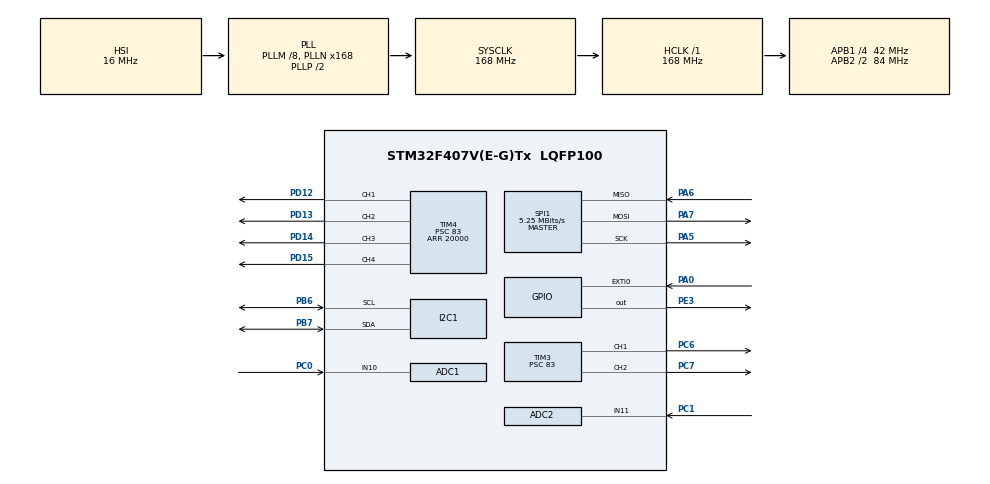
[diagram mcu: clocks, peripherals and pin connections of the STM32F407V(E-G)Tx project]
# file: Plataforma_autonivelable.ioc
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ADC1.Channel-0\#ChannelRegularConversion=ADC_CHANNEL_10
ADC1.ClockPrescaler=ADC_CLOCK_SYNC_PCLK_DIV4
ADC1.NbrOfConversionFlag=1
ADC1.Rank-0\#ChannelRegularConversion=1
ADC1.SamplingTime-0\#ChannelRegularConversion=ADC_SAMPLETIME_3CYCLES
ADC1.master=1
ADC2.Channel-0\#ChannelRegularConversion=ADC_CHANNEL_11
ADC2.ClockPrescaler=ADC_CLOCK_SYNC_PCLK_DIV4
ADC2.NbrOfConversionFlag=1
ADC2.Rank-0\#ChannelRegularConversion=1
ADC2.SamplingTime-0\#ChannelRegularConversion=ADC_SAMPLETIME_3CYCLES
I2C1.I2C_Mode=I2C_Fast
Mcu.Family=STM32F4
Mcu.Name=STM32F407V(E-G)Tx
Mcu.Package=LQFP100
NVIC.EXTI0_IRQn=true\:0\:0\:false\:false\:true\:true\:true
NVIC.PriorityGroup=NVIC_PRIORITYGROUP_4
PA0-WKUP.Signal=GPXTI0
PA5.Mode=Full_Duplex_Master
PA5.Signal=SPI1_SCK
PA6.Mode=Full_Duplex_Master
PA6.Signal=SPI1_MISO
PA7.Mode=Full_Duplex_Master
PA7.Signal=SPI1_MOSI
PB6.Mode=I2C
PB6.Signal=I2C1_SCL
PB7.Mode=I2C
PB7.Signal=I2C1_SDA
PC0.Signal=ADCx_IN10
PC1.Signal=ADCx_IN11
PC6.Signal=S_TIM3_CH1
PC7.Signal=S_TIM3_CH2
PD12.Signal=S_TIM4_CH1
PD13.Signal=S_TIM4_CH2
PD14.Signal=S_TIM4_CH3
PD15.Signal=S_TIM4_CH4
PE3.Signal=GPIO_Output
ProjectManager.HeapSize=0x200
ProjectManager.StackSize=0x400
ProjectManager.TargetToolchain=STM32CubeIDE
RCC.48MHZClocksFreq_Value=84000000
RCC.AHBFreq_Value=168000000
RCC.APB1CLKDivider=RCC_HCLK_DIV4
RCC.APB1Freq_Value=42000000
RCC.APB1TimFreq_Value=84000000
RCC.APB2CLKDivider=RCC_HCLK_DIV2
RCC.APB2Freq_Value=84000000
RCC.APB2TimFreq_Value=168000000
RCC.CortexFreq_Value=168000000
RCC.HCLKFreq_Value=168000000
RCC.HSE_VALUE=8000000
RCC.HSI_VALUE=16000000
RCC.LSE_VALUE=32768
RCC.PLLM=8
RCC.PLLN=168
RCC.SYSCLKFreq_VALUE=168000000
RCC.SYSCLKSource=RCC_SYSCLKSOURCE_PLLCLK
RCC.VCOOutputFreq_Value=336000000
SH.ADCx_IN10.0=ADC1_IN10,IN10
SH.ADCx_IN11.0=ADC2_IN11,IN11
SH.S_TIM3_CH1.0=TIM3_CH1,PWM Generation1 CH1
SH.S_TIM3_CH2.0=TIM3_CH2,PWM Generation2 CH2
SH.S_TIM4_CH1.0=TIM4_CH1,PWM Generation1 CH1
SH.S_TIM4_CH2.0=TIM4_CH2,PWM Generation2 CH2
SH.S_TIM4_CH3.0=TIM4_CH3,PWM Generation3 CH3
SH.S_TIM4_CH4.0=TIM4_CH4,PWM Generation4 CH4
SPI1.BaudRatePrescaler=SPI_BAUDRATEPRESCALER_16
SPI1.CalculateBaudRate=5.25 MBits/s
SPI1.Direction=SPI_DIRECTION_2LINES
SPI1.Mode=SPI_MODE_MASTER
SPI1.VirtualType=VM_MASTER
TIM3.Channel-PWM\ Generation1\ CH1=TIM_CHANNEL_1
TIM3.Channel-PWM\ Generation2\ CH2=TIM_CHANNEL_2
TIM3.Period=20000
TIM3.Prescaler=83
TIM4.Channel-PWM\ Generation1\ CH1=TIM_CHANNEL_1
TIM4.Channel-PWM\ Generation2\ CH2=TIM_CHANNEL_2
TIM4.Channel-PWM\ Generation3\ CH3=TIM_CHANNEL_3
TIM4.Channel-PWM\ Generation4\ CH4=TIM_CHANNEL_4
TIM4.Period=20000
TIM4.Prescaler=83
VP_TIM3_VS_ClockSourceINT.Mode=Internal
VP_TIM4_VS_ClockSourceINT.Mode=Internal
board=custom

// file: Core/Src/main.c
/* USER CODE BEGIN Header */
/**
  ******************************************************************************
  * @file           : main.c
  * @brief          : Main program body
  ******************************************************************************
  * @attention
  *
  * <h2><center>&copy; Copyright (c) 2022 STMicroelectronics.
  * All rights reserved.</center></h2>
  *
  * This software component is licensed by ST under BSD 3-Clause license,
  * the "License"; You may not use this file except in compliance with the
  * License. You may obtain a copy of the License at:
  *                        opensource.org/licenses/BSD-3-Clause
  *
  ******************************************************************************
  */
/* USER CODE END Header */
#include "main.h"

/* USER CODE BEGIN Includes */
#include "math.h"
#include <stdio.h>
#include "fonts.h"
#include "ssd1306.h"
/* USER CODE END Includes */

ADC_HandleTypeDef hadc1;
ADC_HandleTypeDef hadc2;

I2C_HandleTypeDef hi2c1;

SPI_HandleTypeDef hspi1;

TIM_HandleTypeDef htim3;
TIM_HandleTypeDef htim4;

/* USER CODE BEGIN PV */
	//Variables para comunicación SPI con el acelerómetro
uint8_t spiTxBuf[2];
uint8_t spiRxBuf[7];
volatile int16_t accel_x, grad_accel_x, prev_x = 1500;
volatile int16_t accel_y, grad_accel_y, prev_y = 1500;
volatile int16_t accel_z;

char buf_x[12];
char buf_y[12];
char buf2_x[16];
char buf2_y[16];

int16_t adcval_x;
int16_t adcval_y;
volatile int mode = 1;
int16_t T_lights = 20000;
int16_t angle_x;
int16_t angle_y;
int16_t lights_x;
int16_t lights_y, lights_y_2;
uint32_t start_x, start_y;

void HAL_GPIO_EXTI_Callback(uint16_t GPIO_Pin){
	if (GPIO_Pin==GPIO_PIN_0){
			mode = !mode;
		}
}

/* USER CODE END PV */

void SystemClock_Config(void);
static void MX_GPIO_Init(void);
static void MX_SPI1_Init(void);
static void MX_ADC1_Init(void);
static void MX_ADC2_Init(void);
static void MX_TIM3_Init(void);
static void MX_TIM4_Init(void);
static void MX_I2C1_Init(void);

/* USER CODE BEGIN 0 */
int16_t map_acc(int16_t accel){
	if (accel > 16384) return  T_lights;
	else if (accel < -16384) return -T_lights;
	else if(accel < 100 && accel > -100) return 0;
	return (accel - (-16384)) * (T_lights - (-T_lights)) / (16384 - (-16384)) - T_lights;
}

int16_t map_adc(int16_t adc){
	if (adc > 4095) return T_lights/2;
	else if (adc < 0) return -T_lights/2;
	else if(adc < 2148 && adc > 1947) return 0;
	return ((adc - 0) * (T_lights - (-T_lights)) / (4096 - 0) - T_lights)/2;
}

int16_t map_angle(int16_t light){
	return (light - (-T_lights)) * (2500 - 500) / (T_lights - (-T_lights)) + 500;
}
/* USER CODE END 0 */

int main(void)
{

  /* MCU Configuration--------------------------------------------------------*/

  /* Reset of all peripherals, Initializes the Flash interface and the Systick. */
  HAL_Init();

  /* Configure the system clock */
  SystemClock_Config();

  /* Initialize all configured peripherals */
  MX_GPIO_Init();
  MX_SPI1_Init();
  MX_ADC1_Init();
  MX_ADC2_Init();
  MX_TIM3_Init();
  MX_TIM4_Init();
  MX_I2C1_Init();
  /* USER CODE BEGIN 2 */

  SSD1306_Init (); //Inicializo el dispaly OLED

  HAL_TIM_PWM_Start(&htim3, TIM_CHANNEL_1);
  HAL_TIM_PWM_Start(&htim3, TIM_CHANNEL_2);
  HAL_TIM_PWM_Start(&htim4, TIM_CHANNEL_1);
  HAL_TIM_PWM_Start(&htim4, TIM_CHANNEL_2);
  HAL_TIM_PWM_Start(&htim4, TIM_CHANNEL_3);
  HAL_TIM_PWM_Start(&htim4, TIM_CHANNEL_4);
  HAL_GPIO_WritePin(GPIOE,GPIO_PIN_3,GPIO_PIN_SET); //Aseguro que no haya comunicación SPI

  //Inicialización de los registros del acelerómetro
  HAL_GPIO_WritePin(GPIOE,GPIO_PIN_3,GPIO_PIN_RESET); //Comienzo la transmisión de datos por SPI
  spiTxBuf[0]=0x20; //Accedo al registro 0x20 (Control Regist 4)
  spiTxBuf[1]=0x67; //Activo los elementos 0x67 (en decimal = 103; binario = 0110_0111) Para q los outputs vayan a 100Hz de tasa de refresco
  HAL_SPI_Transmit(&hspi1,spiTxBuf,2,50);
  HAL_GPIO_WritePin(GPIOE,GPIO_PIN_3,GPIO_PIN_SET); //Fin de la transmisión de datos por SPI

  start_x = HAL_GetTick();
  start_y = HAL_GetTick();
  /* USER CODE END 2 */

  /* Infinite loop */
  while (1)
  {

    /* USER CODE BEGIN 3 */
	  HAL_GPIO_WritePin(GPIOE,GPIO_PIN_3,GPIO_PIN_RESET);
	  spiTxBuf[0]=0x28|0x80; //OUT_X_L
	  HAL_SPI_Transmit(&hspi1,spiTxBuf,1,20);
	  HAL_SPI_Receive(&hspi1,&spiRxBuf[1],1,20);
	  HAL_GPIO_WritePin(GPIOE,GPIO_PIN_3,GPIO_PIN_SET);

	  HAL_GPIO_WritePin(GPIOE,GPIO_PIN_3,GPIO_PIN_RESET);
	  spiTxBuf[0]=0x29|0x80; //OUT_X_H
	  HAL_SPI_Transmit(&hspi1,spiTxBuf,1,20);
	  HAL_SPI_Receive(&hspi1,&spiRxBuf[2],1,20);
	  HAL_GPIO_WritePin(GPIOE,GPIO_PIN_3,GPIO_PIN_SET);

	  HAL_GPIO_WritePin(GPIOE,GPIO_PIN_3,GPIO_PIN_RESET);
	  spiTxBuf[0]=0x2a|0x80; //OUT_Y_L
	  HAL_SPI_Transmit(&hspi1,spiTxBuf,1,20);
	  HAL_SPI_Receive(&hspi1,&spiRxBuf[3],1,20);
	  HAL_GPIO_WritePin(GPIOE,GPIO_PIN_3,GPIO_PIN_SET);

	  HAL_GPIO_WritePin(GPIOE,GPIO_PIN_3,GPIO_PIN_RESET);
	  spiTxBuf[0]=0x2b|0x80; //OUT_Y_H
	  HAL_SPI_Transmit(&hspi1,spiTxBuf,1,20);
	  HAL_SPI_Receive(&hspi1,&spiRxBuf[4],1,20);
	  HAL_GPIO_WritePin(GPIOE,GPIO_PIN_3,GPIO_PIN_SET);

	  HAL_GPIO_WritePin(GPIOE,GPIO_PIN_3,GPIO_PIN_RESET);
	  spiTxBuf[0]=0x2c|0x80; //OUT_Z_L
	  HAL_SPI_Transmit(&hspi1,spiTxBuf,1,20);
	  HAL_SPI_Receive(&hspi1,&spiRxBuf[5],1,20);
	  HAL_GPIO_WritePin(GPIOE,GPIO_PIN_3,GPIO_PIN_SET);

	  HAL_GPIO_WritePin(GPIOE,GPIO_PIN_3,GPIO_PIN_RESET);
	  spiTxBuf[0]=0x2d|0x80; //OUT_Z_H
	  HAL_SPI_Transmit(&hspi1,spiTxBuf,1,20);
	  HAL_SPI_Receive(&hspi1,&spiRxBuf[6],1,20);
	  HAL_GPIO_WritePin(GPIOE,GPIO_PIN_3,GPIO_PIN_SET);

	  // Carga de los datos del buffer a las variables
	  accel_x = (spiRxBuf[2]<<8)|spiRxBuf[1];
	  accel_y = (spiRxBuf[4]<<8)|spiRxBuf[3];
	  accel_z = (spiRxBuf[6]<<8)|spiRxBuf[5];

	  grad_accel_x = atan(-accel_x/sqrt(pow(accel_y,2) + pow(accel_z,2)))*(180.0/3.1416);
	  grad_accel_y = atan(accel_y/sqrt(pow(accel_x,2) + pow(accel_z,2)))*(180.0/3.1416);

	  if(mode){
		  lights_x = map_acc(accel_x);
		  lights_y = map_acc(accel_y) ;
	  }

	  else{
		  HAL_ADC_Start(&hadc1);
		  if(HAL_ADC_PollForConversion(&hadc1, 100)==HAL_OK)
			  adcval_x = HAL_ADC_GetValue(&hadc1); // -450
		  HAL_ADC_Stop(&hadc1);

		  HAL_ADC_Start(&hadc2);
		  if(HAL_ADC_PollForConversion(&hadc2, 100)==HAL_OK)
			  adcval_y = HAL_ADC_GetValue(&hadc2);
		  HAL_ADC_Stop(&hadc2);

		  lights_x = map_adc(adcval_x);
		  lights_y = map_adc(adcval_y);
	  }

	  angle_x = map_angle(lights_x);
	  angle_y = map_angle(-lights_y);

	  if(HAL_GetTick() - start_x > 2){
		  if(prev_x < angle_x)
		  	  prev_x += 10;
		  else
			  prev_x -= 10;
		  start_x = HAL_GetTick();}

	  if(HAL_GetTick() - start_y > 2){
		  if(prev_y < angle_y)
			  prev_y += 10;
		  else
			  prev_y -= 10;
		  start_y = HAL_GetTick();}

	  __HAL_TIM_SET_COMPARE(&htim3, TIM_CHANNEL_1, prev_x);
	  __HAL_TIM_SET_COMPARE(&htim3, TIM_CHANNEL_2, prev_y);

	  //Encendido de las leds por PWM
	  if(lights_x >= 0){
	  	__HAL_TIM_SET_COMPARE(&htim4, TIM_CHANNEL_1, 0);
	  	__HAL_TIM_SET_COMPARE(&htim4, TIM_CHANNEL_3, lights_x);
	  }
	  else{
	  	__HAL_TIM_SET_COMPARE(&htim4, TIM_CHANNEL_1, -lights_x);
	  	__HAL_TIM_SET_COMPARE(&htim4, TIM_CHANNEL_3, 0);
	  }

	  if(lights_y >= 0){
	  	__HAL_TIM_SET_COMPARE(&htim4, TIM_CHANNEL_2, lights_y);
	  	__HAL_TIM_SET_COMPARE(&htim4, TIM_CHANNEL_4, 0);
	  }
	  else{
	  	__HAL_TIM_SET_COMPARE(&htim4, TIM_CHANNEL_2, 0);
	  	__HAL_TIM_SET_COMPARE(&htim4, TIM_CHANNEL_4, -lights_y);
	  }
	  //Muestra por pantalla OLED

	  sprintf(buf_x, "%d", grad_accel_x);
	  sprintf(buf2_x, "%-10s", buf_x); //Relleno de espacios el resto del string
	  sprintf(buf_y, "%d", grad_accel_y);
	  sprintf(buf2_y, "%-10s", buf_y); //Relleno de espacios el resto del string

	  SSD1306_GotoXY (5, 10); // goto 10, 10
	  SSD1306_Puts ("X: ", &Font_7x10, 1);
	  SSD1306_GotoXY (30, 10);
	  SSD1306_Puts (buf2_x, &Font_7x10, 1);

	  SSD1306_GotoXY (5, 30);
	  SSD1306_Puts ("Y: ", &Font_7x10, 1);
	  SSD1306_GotoXY (30, 30);
	  SSD1306_Puts (buf2_y, &Font_7x10, 1);

	  SSD1306_UpdateScreen(); // update screen
  }
  /* USER CODE END 3 */
}

void SystemClock_Config(void)
{
  RCC_OscInitTypeDef RCC_OscInitStruct = {0};
  RCC_ClkInitTypeDef RCC_ClkInitStruct = {0};

  /** Configure the main internal regulator output voltage
  */
  __HAL_RCC_PWR_CLK_ENABLE();
  __HAL_PWR_VOLTAGESCALING_CONFIG(PWR_REGULATOR_VOLTAGE_SCALE1);
  /** Initializes the RCC Oscillators according to the specified parameters
  * in the RCC_OscInitTypeDef structure.
  */
  RCC_OscInitStruct.OscillatorType = RCC_OSCILLATORTYPE_HSI;
  RCC_OscInitStruct.HSIState = RCC_HSI_ON;
  RCC_OscInitStruct.HSICalibrationValue = RCC_HSICALIBRATION_DEFAULT;
  RCC_OscInitStruct.PLL.PLLState = RCC_PLL_ON;
  RCC_OscInitStruct.PLL.PLLSource = RCC_PLLSOURCE_HSI;
  RCC_OscInitStruct.PLL.PLLM = 8;
  RCC_OscInitStruct.PLL.PLLN = 168;
  RCC_OscInitStruct.PLL.PLLP = RCC_PLLP_DIV2;
  RCC_OscInitStruct.PLL.PLLQ = 4;
  if (HAL_RCC_OscConfig(&RCC_OscInitStruct) != HAL_OK)
  {
    Error_Handler();
  }
  /** Initializes the CPU, AHB and APB buses clocks
  */
  RCC_ClkInitStruct.ClockType = RCC_CLOCKTYPE_HCLK|RCC_CLOCKTYPE_SYSCLK
                              |RCC_CLOCKTYPE_PCLK1|RCC_CLOCKTYPE_PCLK2;
  RCC_ClkInitStruct.SYSCLKSource = RCC_SYSCLKSOURCE_PLLCLK;
  RCC_ClkInitStruct.AHBCLKDivider = RCC_SYSCLK_DIV1;
  RCC_ClkInitStruct.APB1CLKDivider = RCC_HCLK_DIV4;
  RCC_ClkInitStruct.APB2CLKDivider = RCC_HCLK_DIV2;

  if (HAL_RCC_ClockConfig(&RCC_ClkInitStruct, FLASH_LATENCY_5) != HAL_OK)
  {
    Error_Handler();
  }
}

static void MX_ADC1_Init(void)
{

  ADC_ChannelConfTypeDef sConfig = {0};

  /** Configure the global features of the ADC (Clock, Resolution, Data Alignment and number of conversion)
  */
  hadc1.Instance = ADC1;
  hadc1.Init.ClockPrescaler = ADC_CLOCK_SYNC_PCLK_DIV4;
  hadc1.Init.Resolution = ADC_RESOLUTION_12B;
  hadc1.Init.ScanConvMode = DISABLE;
  hadc1.Init.ContinuousConvMode = DISABLE;
  hadc1.Init.DiscontinuousConvMode = DISABLE;
  hadc1.Init.ExternalTrigConvEdge = ADC_EXTERNALTRIGCONVEDGE_NONE;
  hadc1.Init.ExternalTrigConv = ADC_SOFTWARE_START;
  hadc1.Init.DataAlign = ADC_DATAALIGN_RIGHT;
  hadc1.Init.NbrOfConversion = 1;
  hadc1.Init.DMAContinuousRequests = DISABLE;
  hadc1.Init.EOCSelection = ADC_EOC_SINGLE_CONV;
  if (HAL_ADC_Init(&hadc1) != HAL_OK)
  {
    Error_Handler();
  }
  /** Configure for the selected ADC regular channel its corresponding rank in the sequencer and its sample time.
  */
  sConfig.Channel = ADC_CHANNEL_10;
  sConfig.Rank = 1;
  sConfig.SamplingTime = ADC_SAMPLETIME_3CYCLES;
  if (HAL_ADC_ConfigChannel(&hadc1, &sConfig) != HAL_OK)
  {
    Error_Handler();
  }

}

static void MX_ADC2_Init(void)
{

  ADC_ChannelConfTypeDef sConfig = {0};

  /** Configure the global features of the ADC (Clock, Resolution, Data Alignment and number of conversion)
  */
  hadc2.Instance = ADC2;
  hadc2.Init.ClockPrescaler = ADC_CLOCK_SYNC_PCLK_DIV4;
  hadc2.Init.Resolution = ADC_RESOLUTION_12B;
  hadc2.Init.ScanConvMode = DISABLE;
  hadc2.Init.ContinuousConvMode = DISABLE;
  hadc2.Init.DiscontinuousConvMode = DISABLE;
  hadc2.Init.ExternalTrigConvEdge = ADC_EXTERNALTRIGCONVEDGE_NONE;
  hadc2.Init.ExternalTrigConv = ADC_SOFTWARE_START;
  hadc2.Init.DataAlign = ADC_DATAALIGN_RIGHT;
  hadc2.Init.NbrOfConversion = 1;
  hadc2.Init.DMAContinuousRequests = DISABLE;
  hadc2.Init.EOCSelection = ADC_EOC_SINGLE_CONV;
  if (HAL_ADC_Init(&hadc2) != HAL_OK)
  {
    Error_Handler();
  }
  /** Configure for the selected ADC regular channel its corresponding rank in the sequencer and its sample time.
  */
  sConfig.Channel = ADC_CHANNEL_11;
  sConfig.Rank = 1;
  sConfig.SamplingTime = ADC_SAMPLETIME_3CYCLES;
  if (HAL_ADC_ConfigChannel(&hadc2, &sConfig) != HAL_OK)
  {
    Error_Handler();
  }

}

static void MX_I2C1_Init(void)
{

  hi2c1.Instance = I2C1;
  hi2c1.Init.ClockSpeed = 400000;
  hi2c1.Init.DutyCycle = I2C_DUTYCYCLE_2;
  hi2c1.Init.OwnAddress1 = 0;
  hi2c1.Init.AddressingMode = I2C_ADDRESSINGMODE_7BIT;
  hi2c1.Init.DualAddressMode = I2C_DUALADDRESS_DISABLE;
  hi2c1.Init.OwnAddress2 = 0;
  hi2c1.Init.GeneralCallMode = I2C_GENERALCALL_DISABLE;
  hi2c1.Init.NoStretchMode = I2C_NOSTRETCH_DISABLE;
  if (HAL_I2C_Init(&hi2c1) != HAL_OK)
  {
    Error_Handler();
  }

}

static void MX_SPI1_Init(void)
{

  /* SPI1 parameter configuration*/
  hspi1.Instance = SPI1;
  hspi1.Init.Mode = SPI_MODE_MASTER;
  hspi1.Init.Direction = SPI_DIRECTION_2LINES;
  hspi1.Init.DataSize = SPI_DATASIZE_8BIT;
  hspi1.Init.CLKPolarity = SPI_POLARITY_LOW;
  hspi1.Init.CLKPhase = SPI_PHASE_1EDGE;
  hspi1.Init.NSS = SPI_NSS_SOFT;
  hspi1.Init.BaudRatePrescaler = SPI_BAUDRATEPRESCALER_16;
  hspi1.Init.FirstBit = SPI_FIRSTBIT_MSB;
  hspi1.Init.TIMode = SPI_TIMODE_DISABLE;
  hspi1.Init.CRCCalculation = SPI_CRCCALCULATION_DISABLE;
  hspi1.Init.CRCPolynomial = 10;
  if (HAL_SPI_Init(&hspi1) != HAL_OK)
  {
    Error_Handler();
  }

}

static void MX_TIM3_Init(void)
{

  TIM_ClockConfigTypeDef sClockSourceConfig = {0};
  TIM_MasterConfigTypeDef sMasterConfig = {0};
  TIM_OC_InitTypeDef sConfigOC = {0};

  htim3.Instance = TIM3;
  htim3.Init.Prescaler = 83;
  htim3.Init.CounterMode = TIM_COUNTERMODE_UP;
  htim3.Init.Period = 20000;
  htim3.Init.ClockDivision = TIM_CLOCKDIVISION_DIV1;
  htim3.Init.AutoReloadPreload = TIM_AUTORELOAD_PRELOAD_DISABLE;
  if (HAL_TIM_Base_Init(&htim3) != HAL_OK)
  {
    Error_Handler();
  }
  sClockSourceConfig.ClockSource = TIM_CLOCKSOURCE_INTERNAL;
  if (HAL_TIM_ConfigClockSource(&htim3, &sClockSourceConfig) != HAL_OK)
  {
    Error_Handler();
  }
  if (HAL_TIM_PWM_Init(&htim3) != HAL_OK)
  {
    Error_Handler();
  }
  sMasterConfig.MasterOutputTrigger = TIM_TRGO_RESET;
  sMasterConfig.MasterSlaveMode = TIM_MASTERSLAVEMODE_DISABLE;
  if (HAL_TIMEx_MasterConfigSynchronization(&htim3, &sMasterConfig) != HAL_OK)
  {
    Error_Handler();
  }
  sConfigOC.OCMode = TIM_OCMODE_PWM1;
  sConfigOC.Pulse = 0;
  sConfigOC.OCPolarity = TIM_OCPOLARITY_HIGH;
  sConfigOC.OCFastMode = TIM_OCFAST_DISABLE;
  if (HAL_TIM_PWM_ConfigChannel(&htim3, &sConfigOC, TIM_CHANNEL_1) != HAL_OK)
  {
    Error_Handler();
  }
  if (HAL_TIM_PWM_ConfigChannel(&htim3, &sConfigOC, TIM_CHANNEL_2) != HAL_OK)
  {
    Error_Handler();
  }
  HAL_TIM_MspPostInit(&htim3);

}

static void MX_TIM4_Init(void)
{

  TIM_ClockConfigTypeDef sClockSourceConfig = {0};
  TIM_MasterConfigTypeDef sMasterConfig = {0};
  TIM_OC_InitTypeDef sConfigOC = {0};

  htim4.Instance = TIM4;
  htim4.Init.Prescaler = 83;
  htim4.Init.CounterMode = TIM_COUNTERMODE_UP;
  htim4.Init.Period = 20000;
  htim4.Init.ClockDivision = TIM_CLOCKDIVISION_DIV1;
  htim4.Init.AutoReloadPreload = TIM_AUTORELOAD_PRELOAD_DISABLE;
  if (HAL_TIM_Base_Init(&htim4) != HAL_OK)
  {
    Error_Handler();
  }
  sClockSourceConfig.ClockSource = TIM_CLOCKSOURCE_INTERNAL;
  if (HAL_TIM_ConfigClockSource(&htim4, &sClockSourceConfig) != HAL_OK)
  {
    Error_Handler();
  }
  if (HAL_TIM_PWM_Init(&htim4) != HAL_OK)
  {
    Error_Handler();
  }
  sMasterConfig.MasterOutputTrigger = TIM_TRGO_RESET;
  sMasterConfig.MasterSlaveMode = TIM_MASTERSLAVEMODE_DISABLE;
  if (HAL_TIMEx_MasterConfigSynchronization(&htim4, &sMasterConfig) != HAL_OK)
  {
    Error_Handler();
  }
  sConfigOC.OCMode = TIM_OCMODE_PWM1;
  sConfigOC.Pulse = 0;
  sConfigOC.OCPolarity = TIM_OCPOLARITY_HIGH;
  sConfigOC.OCFastMode = TIM_OCFAST_DISABLE;
  if (HAL_TIM_PWM_ConfigChannel(&htim4, &sConfigOC, TIM_CHANNEL_1) != HAL_OK)
  {
    Error_Handler();
  }
  if (HAL_TIM_PWM_ConfigChannel(&htim4, &sConfigOC, TIM_CHANNEL_2) != HAL_OK)
  {
    Error_Handler();
  }
  if (HAL_TIM_PWM_ConfigChannel(&htim4, &sConfigOC, TIM_CHANNEL_3) != HAL_OK)
  {
    Error_Handler();
  }
  if (HAL_TIM_PWM_ConfigChannel(&htim4, &sConfigOC, TIM_CHANNEL_4) != HAL_OK)
  {
    Error_Handler();
  }
  HAL_TIM_MspPostInit(&htim4);

}

static void MX_GPIO_Init(void)
{
  GPIO_InitTypeDef GPIO_InitStruct = {0};

  /* GPIO Ports Clock Enable */
  __HAL_RCC_GPIOE_CLK_ENABLE();
  __HAL_RCC_GPIOC_CLK_ENABLE();
  __HAL_RCC_GPIOA_CLK_ENABLE();
  __HAL_RCC_GPIOD_CLK_ENABLE();
  __HAL_RCC_GPIOB_CLK_ENABLE();

  /*Configure GPIO pin Output Level */
  HAL_GPIO_WritePin(GPIOE, GPIO_PIN_3, GPIO_PIN_RESET);

  /*Configure GPIO pin : PE3 */
  GPIO_InitStruct.Pin = GPIO_PIN_3;
  GPIO_InitStruct.Mode = GPIO_MODE_OUTPUT_PP;
  GPIO_InitStruct.Pull = GPIO_NOPULL;
  GPIO_InitStruct.Speed = GPIO_SPEED_FREQ_LOW;
  HAL_GPIO_Init(GPIOE, &GPIO_InitStruct);

  /*Configure GPIO pin : PA0 */
  GPIO_InitStruct.Pin = GPIO_PIN_0;
  GPIO_InitStruct.Mode = GPIO_MODE_IT_RISING;
  GPIO_InitStruct.Pull = GPIO_NOPULL;
  HAL_GPIO_Init(GPIOA, &GPIO_InitStruct);

  /* EXTI interrupt init*/
  HAL_NVIC_SetPriority(EXTI0_IRQn, 0, 0);
  HAL_NVIC_EnableIRQ(EXTI0_IRQn);

}

void Error_Handler(void)
{
  __disable_irq();
  while (1)
  {
  }
}

/************************ (C) COPYRIGHT STMicroelectronics *****END OF FILE****/
